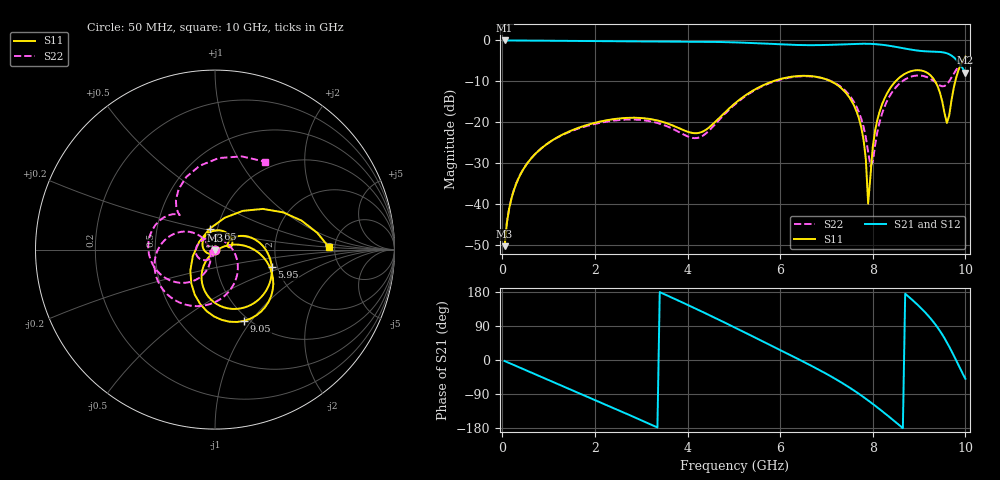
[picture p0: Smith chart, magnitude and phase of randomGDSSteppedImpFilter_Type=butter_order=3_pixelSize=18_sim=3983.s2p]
! freq	dB(S11)	phase(S11)	dB(S12)	phase(S12)
!  dB(S21)	phase(S21)	dB(S22)	phase(S22)
!S-par simulation data
#  GHz  S  DB  R 50
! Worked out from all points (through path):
!   200 points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, 50 MHz to 10 GHz, reference 50 ohm
!   highest |S21| = -0.01 dB at 50 MHz (marker M1); lowest = -7.9 dB at 10 GHz (marker M2)
!   lowest |S11| = -50.3 dB at 50 MHz (marker M3), VSWR 1.01, Z = 50 - j0.305 ohm
!   |S11| at or under -10 dB: start of sweep to 5.843 GHz; 7.098 GHz to 8.492 GHz (1.395 GHz wide, 17.9 % of centre); 9.347 GHz to 9.781 GHz (434.6 MHz wide, 4.54 % of centre)
!   |S22| runs from -50.3 to -5.0 dB; largest |S21 - S12| = 0
!   S11 on the Smith chart (normalised r, x): 50 MHz: 1.00, -0.01; 5.95 GHz: 1.86, -0.41; 9.05 GHz: 0.95, -0.92; 9.65 GHz: 0.92, +0.22; 10 GHz: 4.46, +0.22
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0.05  -50.29 -87.0  -0.01 -2.7  -0.01 -2.7  -50.27 -84.1
0.2  -38.53 -104.3  -0.02 -10.6  -0.02 -10.6  -38.45 -93.9
0.5  -30.69 -129.6  -0.04 -26.3  -0.04 -26.3  -30.64 -103.7
1.75  -20.95 130.8  -0.14 -92.1  -0.14 -92.1  -21.16 -137.8
2.65  -18.96 64.3  -0.22 -140.0  -0.22 -140.0  -19.36 -166.2
3.4  -19.71 20.6  -0.27 179.2  -0.27 179.2  -20.34 157.2
4.25  -22.59 19.9  -0.31 131.2  -0.31 131.2  -23.73 57.8
5.05  -15.14 25.9  -0.48 83.9  -0.48 83.9  -15.37 -41.8
5.95  -9.61 -17.3  -0.93 29.4  -0.93 29.4  -9.75 -104.9
6.7  -8.75 -60.0  -1.16 -17.0  -1.16 -17.0  -8.82 -153.0
7.6  -16.03 -118.1  -0.84 -80.9  -0.84 -80.9  -15.15 145.4
7.8  -24.19 -129.7  -0.80 -97.8  -0.80 -97.8  -21.08 136.9
7.9  -39.88 -99.3  -0.82 -106.7  -0.82 -106.7  -27.16 148.4
7.95  -33.12 11.8  -0.84 -111.3  -0.84 -111.3  -30.72 178.5
8.05  -22.08 17.9  -0.90 -120.5  -0.90 -120.5  -25.60 -116.7
8.35  -12.13 -4.7  -1.29 -149.5  -1.29 -149.5  -13.89 -122.8
9.05  -7.36 -67.8  -2.58 135.9  -2.58 135.9  -8.61 168.0
9.4  -11.20 -114.1  -2.78 85.7  -2.78 85.7  -10.64 137.7
9.6  -20.18 153.7  -3.14 46.7  -3.14 46.7  -10.72 135.0
9.65  -18.36 103.5  -3.37 35.4  -3.37 35.4  -9.98 132.8
9.8  -9.12 40.4  -4.66 -0.8  -4.66 -0.8  -7.23 111.5
10  -3.95 1.3  -7.91 -49.6  -7.91 -49.6  -4.97 60.2
